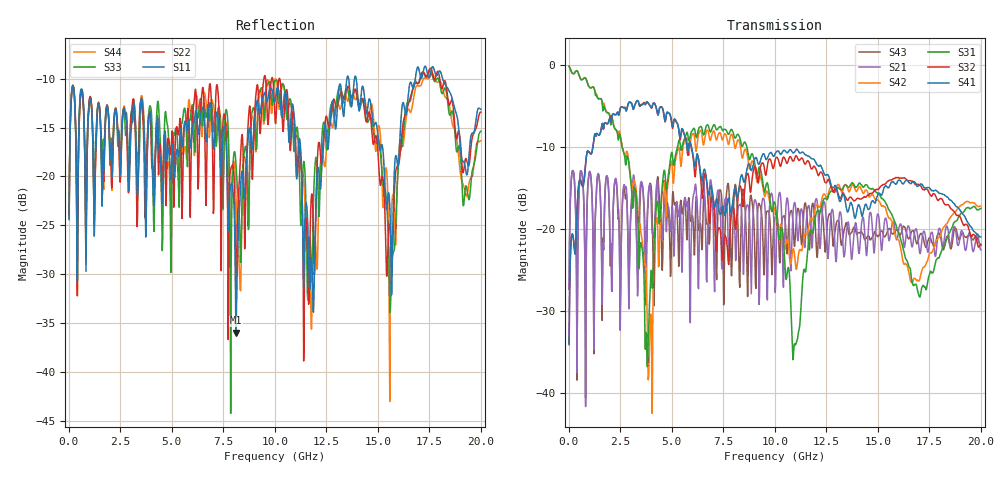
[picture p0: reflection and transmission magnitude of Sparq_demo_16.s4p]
! File created by SignalIntegrity v1.1.4: Signal and Power Integrity Tools
! https://github.com/TeledyneLeCroy/SignalIntegrity
# MHz MA S R 50.0
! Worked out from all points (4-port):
!   1000 points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, 20 MHz to 20 GHz, reference 50 ohm
!   strongest paths, dB at 20 MHz, 5.02 GHz, 10.02 GHz, 15.02 GHz, 20 GHz:
!     S41: -34.1, -7.4, -10.8, -15.6, -20.9
!     S32: -34.0, -7.5, -11.5, -15.2, -21.9
!     S31: -0.1, -10.7, -16.9, -15.7, -17.5
!     S42: -0.1, -12.3, -17.9, -16.5, -17.1
!     S21: -27.2, -17.2, -27.7, -18.2, -22.5
!     S43: -27.3, -16.9, -18.5, -20.8, -21.9
!   lowest |S11| = -36.0 dB at 8.12 GHz (marker M1), VSWR 1.03, Z = 51.5 - j0.523 ohm
!   |S11| at or under -10 dB: start of sweep to 13.5 GHz; 13.95 GHz to 16.82 GHz (2.87 GHz wide, 18.7 % of centre); 18.15 GHz to end of sweep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
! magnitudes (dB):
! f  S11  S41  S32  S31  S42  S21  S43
! 20 MHz  -24.3  -34.1  -34.0  -0.1  -0.1  -27.2  -27.3
! 3.96 GHz  -13.5  -5.0  -5.0  -27.2  -31.1  -14.9  -14.4
! 4.92 GHz  -19.3  -6.0  -6.0  -11.8  -12.3  -19.6  -23.7
! 8.12 GHz  -36.0  -15.8  -19.7  -8.7  -9.8  -23.3  -14.9
! 10.94 GHz  -14.2  -10.6  -11.5  -34.1  -22.8  -16.8  -21.9
! 11.8 GHz  -28.7  -11.4  -12.7  -20.4  -18.8  -22.3  -17.2
! 20 GHz  -13.1  -20.9  -21.9  -17.5  -17.1  -22.5  -21.9
